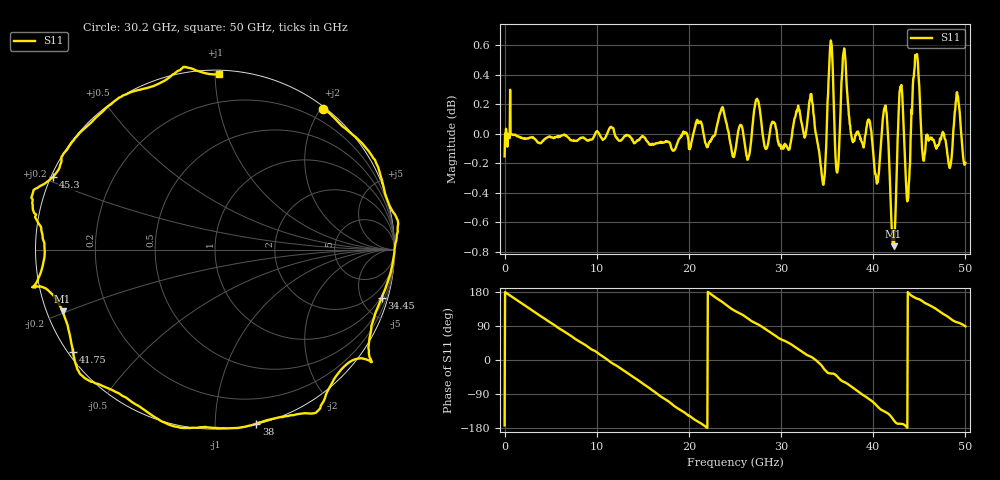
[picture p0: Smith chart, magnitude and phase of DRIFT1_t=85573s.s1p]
!Created with skrf (http://scikit-rf.org).
# Hz S RI R 50.0
!freq ReS11 ImS11
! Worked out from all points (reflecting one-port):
!   1001 points, 300 kHz to 50 GHz, reference 50 ohm
!   lowest |S11| = -0.8 dB at 42.2 GHz (marker M1), VSWR 22.83, Z = 2.27 - j9.69 ohm
!   phase of S11 starts at -173 deg and turns -818 deg over the sweep
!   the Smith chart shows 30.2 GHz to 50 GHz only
!   S11 on the Smith chart (normalised r, x): 30.2 GHz: 0.03, +2.03; 34.45 GHz: 0.85, -6.94; 38 GHz: 0.00, -1.27; 41.75 GHz: 0.01, -0.32; 45.3 GHz: 0.01, +0.21; 50 GHz: 0.02, +1.02
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300000  -0.9746 -0.124
1.450291e9  -0.9125 0.404
3.25028e9  -0.5931 0.8001
6.250262e9  0.1985 0.9788
9.500243e9  0.8871 0.4521
1.250022e10  0.93 -0.352
1.580021e10  0.2424 -0.9612
1.74002e10  -0.2233 -0.9681
1.875019e10  -0.5988 -0.792
2.165017e10  -0.99 -0.1221
2.345016e10  -0.9302 0.4128
2.500015e10  -0.6261 0.7613
2.745014e10  -0.0823 1.023
3.020012e10  0.6041 0.7841
3.125011e10  0.7822 0.6284
3.32001e10  1.018 0.1638
3.445009e10  0.9284 -0.269
3.520009e10  0.8613 -0.5996
3.750008e10  0.3774 -0.933
3.800007e10  0.2301 -0.9698
3.965006e10  -0.256 -0.9755
4.175005e10  -0.7917 -0.5691
4.220005e10  -0.8495 -0.3428
4.290004e10  -1.013 -0.2104
4.375004e10  -0.9501 0.0126
4.530003e10  -0.9013 0.4059
4.765001e10  -0.5129 0.8586
5e10  0.02 0.9773
